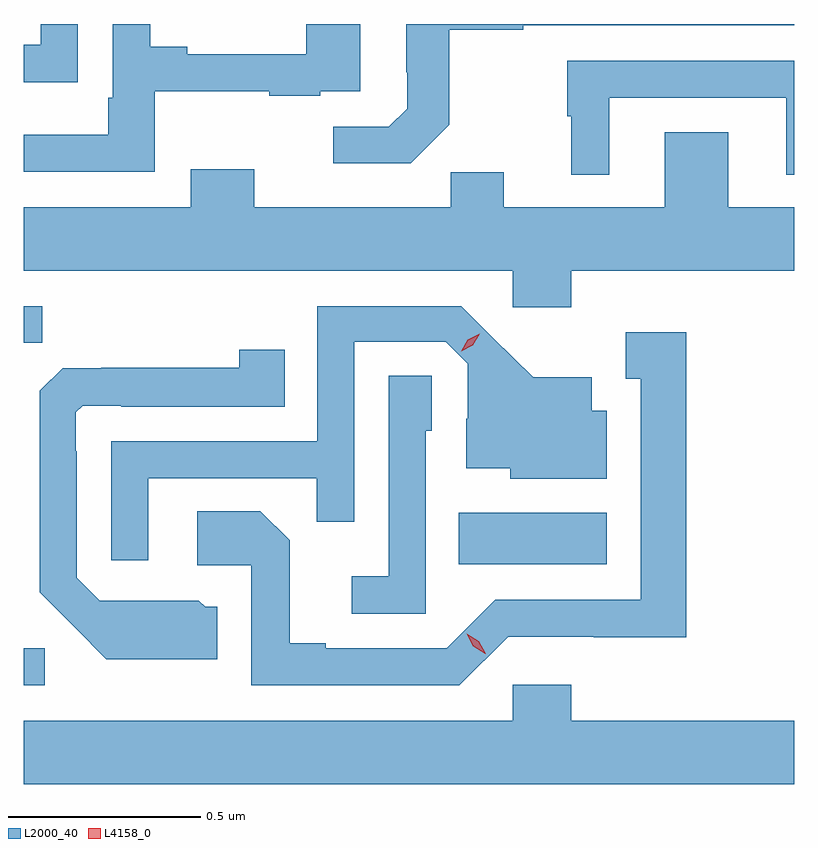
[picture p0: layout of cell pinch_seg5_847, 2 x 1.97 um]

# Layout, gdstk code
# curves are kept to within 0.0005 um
import gdstk
lib = gdstk.Library(unit=1e-6, precision=1e-09)
def R(c, l, rs):  # rectangles x0, y0, x1, y1
    for r in rs: c.add(gdstk.rectangle(r[:2], r[2:], *l))
def P(c, l, *ps):  # polygons
    for p in ps: c.add(gdstk.Polygon(p, *l))
L2000_40 = (2000, 40)
L4158_0 = (4158, 0)

pinch_seg5_847 = lib.new_cell('pinch_seg5_847')
R(pinch_seg5_847, L2000_40, [(760.281,891.648,760.336,891.744), (761.41,891.962,761.794,892.096), (760.281,892.537,760.329,892.632)])
P(pinch_seg5_847, L2000_40, [(761.385,893.103),(761.385,893.349),(761.577,893.349),(761.577,893.361),(762.281,893.361),(762.281,893.364),(761.274,893.364),(761.274,893.239),(761.276,893.239),(761.276,893.144),(761.229,893.097),(761.085,893.097),(761.085,893.003),(761.285,893.003)],
  [(760.422,893.364),(760.326,893.364),(760.326,893.31),(760.281,893.31),(760.281,893.213),(760.422,893.213)],
  [(760.621,893.189),(760.919,893.189),(760.919,893.178),(761.051,893.178),(761.051,893.19),(761.155,893.19),(761.155,893.364),(761.015,893.364),(761.015,893.286),(760.705,893.286),(760.705,893.305),(760.609,893.305),(760.609,893.364),(760.512,893.364),(760.512,893.173),(760.5,893.173),(760.5,893.077),(760.281,893.077),(760.281,892.98),(760.621,892.98)],
  [(761.8,893.172),(762.26,893.172),(762.26,892.973),(762.281,892.973),(762.281,893.268),(761.691,893.268),(761.691,893.124),(761.702,893.124),(761.702,892.973),(761.8,892.973)],
  [(761.702,892.724),(762.281,892.724),(762.281,892.888),(762.109,892.888),(762.109,893.083),(761.945,893.083),(761.945,892.888),(761.527,892.888),(761.527,892.979),(761.389,892.979),(761.389,892.888),(760.879,892.888),(760.879,892.987),(760.715,892.987),(760.715,892.888),(760.281,892.888),(760.281,892.724),(761.55,892.724),(761.55,892.629),(761.702,892.629)],
  [(760.605,892.185),(761.041,892.185),(761.041,892.072),(761.139,892.072),(761.139,892.539),(761.376,892.539),(761.433,892.482),(761.433,892.34),(761.429,892.34),(761.429,892.211),(761.544,892.211),(761.544,892.184),(761.794,892.184),(761.794,892.36),(761.755,892.36),(761.755,892.447),(761.603,892.447),(761.416,892.632),(761.043,892.632),(761.043,892.281),(760.509,892.281),(760.509,891.972),(760.605,891.972)],
  [(761.538,891.774),(761.76,891.774),(761.76,891.773),(762.001,891.773),(762.001,892.564),(761.843,892.564),(761.843,892.443),(761.882,892.443),(761.882,891.87),(761.505,891.87),(761.379,891.744),(761.065,891.744),(761.065,891.757),(760.971,891.757),(760.971,892.024),(760.895,892.1),(760.731,892.1),(760.731,891.96),(760.872,891.96),(760.872,891.648),(761.412,891.648)],
  [(760.783,891.852),(760.752,891.852),(760.736,891.868),(760.602,891.868),(760.602,891.867),(760.479,891.867),(760.419,891.927),(760.419,892.256),(760.416,892.256),(760.416,892.356),(760.434,892.374),(760.534,892.374),(760.534,892.371),(760.958,892.371),(760.958,892.519),(760.84,892.519),(760.84,892.472),(760.483,892.472),(760.483,892.471),(760.382,892.471),(760.323,892.412),(760.323,891.89),(760.495,891.716),(760.783,891.716)],
  [(761.325,892.308),(761.34,892.308),(761.34,892.451),(761.229,892.451),(761.229,891.931),(761.133,891.931),(761.133,891.834),(761.325,891.834)],
  [(762.281,891.556),(761.702,891.556),(761.702,891.649),(761.55,891.649),(761.55,891.556),(760.281,891.556),(760.281,891.392),(762.281,891.392)])
P(pinch_seg5_847, L4158_0, [(761.479,891.73),(761.448,891.749),(761.431,891.782),(761.431,891.782),(761.431,891.782),(761.462,891.763),(761.48,891.73),(761.48,891.73)],
  [(761.416,892.515),(761.416,892.515),(761.433,892.545),(761.464,892.56),(761.464,892.56),(761.464,892.56),(761.447,892.53),(761.416,892.515)])

lib.write_gds('pinch_seg5_847.gds')
